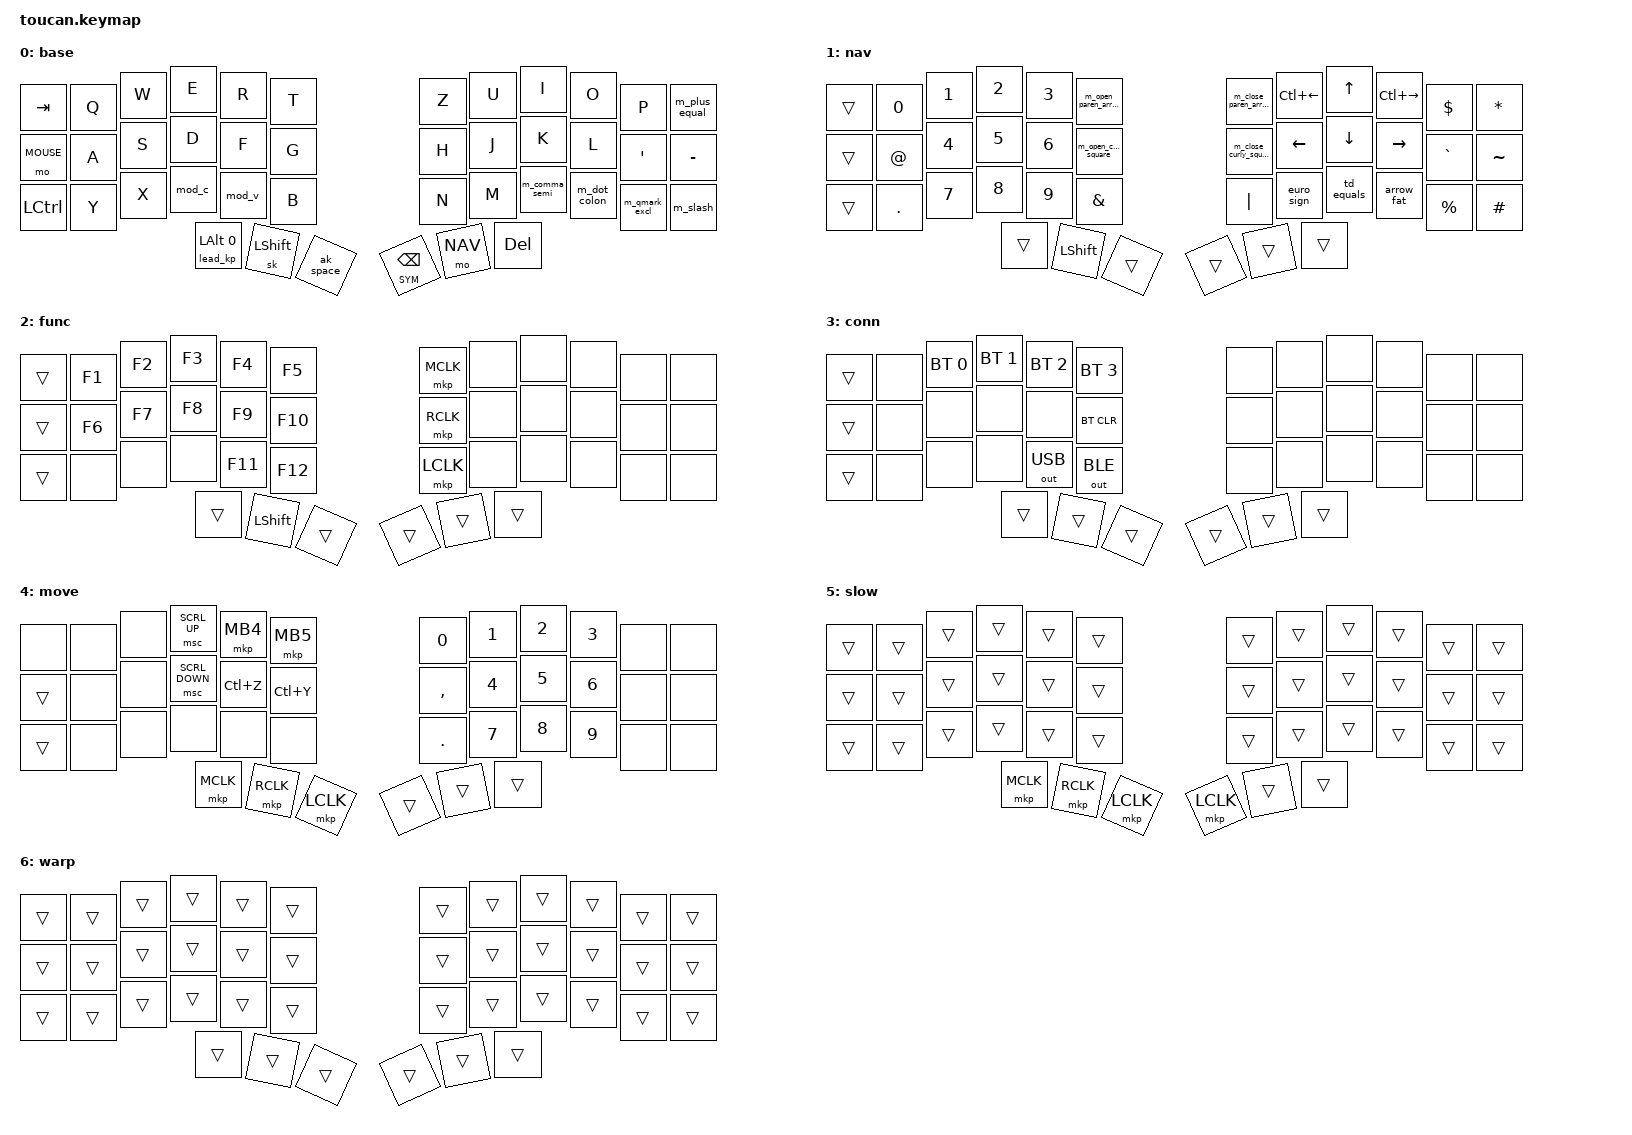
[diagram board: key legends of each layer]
#include "zmk-helpers/helper.h"
#include <behaviors.dtsi>
#include <dt-bindings/zmk/keys.h>
#include <dt-bindings/zmk/bt.h>
#include <dt-bindings/zmk/outputs.h>
#include "leader.dtsi"
#include "custom_behaviors.dtsi"
#include "adaptive.dtsi"

#define BASE 0
#define NAV  1
#define SYM  2
#define ADJ  3
#define MOUSE  4
#define SLOW  5
#define QUICK  6

ZMK_COMBO(esc,  &kp ESC, 0 1, ALL, 30)
ZMK_COMBO(enter, &kp ENTER, 19 20, ALL, 30)
ZMK_COMBO(win, &kp LEFT_GUI, 36 37, ALL, 30)
ZMK_COMBO(quick, &mo QUICK, 15 16, ALL, 30)
ZMK_COMBO(slow, &mo SLOW, 13 14 15 16, ALL, 30)
ZMK_COMBO(cancel, &kp K_CANCEL, 10 11, ALL, 30)
ZMK_COMBO(mouse_lclk_l, &mkp LCLK, 28 29, ALL, 30)
ZMK_COMBO(mouse_rclk_l, &mkp RCLK, 27 28 29, ALL, 30)
ZMK_COMBO(mouse_mclk_l, &mkp MCLK, 26 27 28 29, ALL, 30)
ZMK_COMBO(mouse_lclk_r, &mkp LCLK, 30 31, ALL, 30)
ZMK_COMBO(mouse_rclk_r, &mkp RCLK, 30 31 32, ALL, 30)
ZMK_COMBO(mouse_mclk_r, &mkp MCLK, 30 31 32 33, ALL, 30)

ZMK_CONDITIONAL_LAYER(sys, NAV SYM, ADJ)

&sk {
  release-after-ms = <400>;
  quick-release;
};

// layer tap with balanced resolution
ZMK_BEHAVIOR(ltb, hold_tap,
    flavor = "balanced";
    tapping-term-ms = <180>;
    quick-tap-ms = <160>;
    bindings = <&mo>, <&kp>;
    hold-while-undecided;
)


ZMK_BEHAVIOR(lead_kp, hold_tap,
    flavor = "hold-preferred";
    tapping-term-ms = <180>;
    bindings = <&kp>, <&leader1>;   
)

ZMK_LAYER(base,
    &kp TAB   &kp Q &kp W &kp E &kp R &kp T      &kp Z &kp U  &kp I     &kp O   &kp P    &m_plus_equal
    &mo MOUSE &kp A &kp S &kp D &kp F &kp G      &kp H &kp J  &kp K     &kp L   &kp SQT &kp MINUS
    &kp LCTRL &kp Y &kp X &mod_c &mod_v &kp B    &kp N &kp M  &m_comma_semi &m_dot_colon &m_qmark_excl &m_slash
        &lead_kp LALT 0 &sk LSHFT &ak_space      &ltb SYM BKSP &mo NAV &kp DEL
)


ZMK_LAYER(nav,
    &trans &kp N0 &kp N1 &kp N2 &kp N3 &m_open_paren_arrow          &m_close_paren_arrow &kp LC(LEFT) &kp UP &kp LC(RIGHT) &kp DOLLAR &kp STAR
    &trans  &kp AT &kp N4 &kp N5 &kp N6 &m_open_curly_square        &m_close_curly_square &kp LEFT &kp DOWN &kp RIGHT &kp GRAVE &kp TILDE
    &trans &kp DOT &kp N7 &kp N8 &kp N9 &kp AMPS                   &kp PIPE &euro_sign &td_equals &arrow_fat &kp PERCENT &kp HASH
                             &trans &kp LSHFT &trans                   &trans &trans &trans     
)

ZMK_LAYER(func,
    &trans &kp F1 &kp F2 &kp F3 &kp F4 &kp F5       &mkp MCLK &none &none &none &none &none
    &trans &kp F6 &kp F7 &kp F8 &kp F9 &kp F10      &mkp RCLK &none &none &none &none &none
    &trans &none  &none  &none  &kp F11 &kp F12     &mkp LCLK &none &none &none &none &none
                        &trans &kp LSHFT &trans     &trans &trans &trans
)

ZMK_LAYER(conn,
    &trans &none &bt BT_SEL 0 &bt BT_SEL 1 &bt BT_SEL 2 &bt BT_SEL 3       &none &none &none &none &none &none
    &trans &none &none &none &none &bt BT_CLR                               &none &none &none &none &none &none
    &trans &none &none &none &out OUT_USB &out OUT_BLE                      &none &none &none &none &none &none
                    &trans &trans &trans                                    &trans &trans &trans
)

ZMK_LAYER(move,
    &none &none &none &msc SCRL_UP &mkp MB4 &mkp MB5            &kp N0 &kp N1 &kp N2 &kp N3 &none &none
    &trans &none &none &msc SCRL_DOWN &kp LC(Z) &kp LC(Y)        &kp COMMA &kp N4 &kp N5 &kp N6 &none &none
    &trans &none &none &none &none &none                        &kp DOT &kp N7 &kp N8 &kp N9 &none &none
            &mkp MCLK &mkp RCLK &mkp LCLK                       &trans &trans &trans
)

ZMK_LAYER(slow,
    &trans &trans &trans &trans &trans &trans              &trans &trans &trans &trans &trans &trans
    &trans &trans &trans &trans &trans &trans             &trans &trans &trans &trans &trans &trans
    &trans &trans &trans &trans &trans &trans             &trans &trans &trans &trans &trans &trans
                        &mkp MCLK &mkp RCLK &mkp LCLK              &mkp LCLK &trans &trans
)

ZMK_LAYER(warp,
    &trans &trans &trans &trans &trans &trans              &trans &trans &trans &trans &trans &trans
    &trans &trans &trans &trans &trans &trans             &trans &trans &trans &trans &trans &trans
    &trans &trans &trans &trans &trans &trans             &trans &trans &trans &trans &trans &trans
                        &trans &trans &trans              &trans &trans &trans
)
